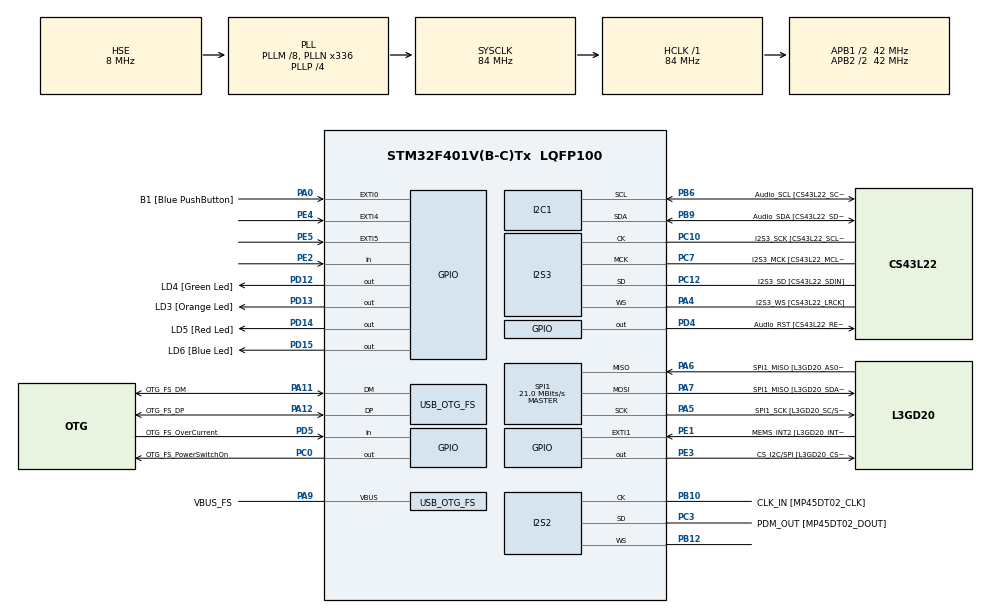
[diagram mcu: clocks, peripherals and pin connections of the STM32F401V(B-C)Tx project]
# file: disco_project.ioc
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I2S2.ErrorAudioFreq=0.0 %
I2S2.FullDuplexMode=I2S_FULLDUPLEXMODE_DISABLE
I2S2.Instance=SPI$Index
I2S2.RealAudioFreq=8.0 KHz
I2S2.VirtualMode=I2S_MODE_MASTER
I2S3.AudioFreq=I2S_AUDIOFREQ_96K
I2S3.ErrorAudioFreq=-2.34 %
I2S3.FullDuplexMode=I2S_FULLDUPLEXMODE_DISABLE
I2S3.Instance=SPI$Index
I2S3.RealAudioFreq=93.75 KHz
I2S3.VirtualMode=I2S_MODE_MASTER
Mcu.Family=STM32F4
Mcu.Name=STM32F401V(B-C)Tx
Mcu.Package=LQFP100
NVIC.OTG_FS_IRQn=true\:0\:0\:false\:false\:true\:true
NVIC.PriorityGroup=NVIC_PRIORITYGROUP_0
PA0-WKUP.GPIO_Label=B1 [Blue PushButton]
PA0-WKUP.GPIO_ModeDefaultEXTI=GPIO_MODE_EVT_RISING
PA0-WKUP.Signal=GPXTI0
PA10.GPIO_Label=OTG_FS_ID
PA10.Signal=USB_OTG_FS_ID
PA11.GPIO_Label=OTG_FS_DM
PA11.Mode=Device_Only
PA11.Signal=USB_OTG_FS_DM
PA12.GPIO_Label=OTG_FS_DP
PA12.Mode=Device_Only
PA12.Signal=USB_OTG_FS_DP
PA13.GPIO_Label=SWDIO
PA13.Mode=Serial_Wire
PA13.Signal=SYS_JTMS-SWDIO
PA14.GPIO_Label=SWCLK
PA14.Mode=Serial_Wire
PA14.Signal=SYS_JTCK-SWCLK
PA4.GPIO_Label=I2S3_WS [CS43L22_LRCK]
PA4.GPIO_Mode=GPIO_MODE_AF_PP
PA4.GPIO_PuPd=GPIO_NOPULL
PA4.GPIO_Speed=GPIO_SPEED_FREQ_LOW
PA4.Mode=Half_Duplex_Master
PA4.Signal=I2S3_WS
PA5.GPIO_Label=SPI1_SCK [L3GD20_SC/SPC]
PA5.Mode=Full_Duplex_Master
PA5.Signal=SPI1_SCK
PA6.GPIO_Label=SPI1_MISO [L3GD20_AS0/SDO]
PA6.Mode=Full_Duplex_Master
PA6.Signal=SPI1_MISO
PA7.GPIO_Label=SPI1_MISO [L3GD20_SDA/SDI/SDO]
PA7.Mode=Full_Duplex_Master
PA7.Signal=SPI1_MOSI
PA9.GPIO_Label=VBUS_FS
PA9.Mode=Activate_VBUS
PA9.Signal=USB_OTG_FS_VBUS
PB10.GPIO_Label=CLK_IN [MP45DT02_CLK]
PB10.Mode=Half_Duplex_Master
PB10.Signal=I2S2_CK
PB12.Mode=Half_Duplex_Master
PB12.Signal=I2S2_WS
PB3.GPIO_Label=SWO
PB3.Signal=SYS_JTDO-SWO
PB6.GPIO_Label=Audio_SCL [CS43L22_SCL]
PB6.GPIO_Mode=GPIO_MODE_AF_OD
PB6.GPIO_PuPd=GPIO_NOPULL
PB6.GPIO_Speed=GPIO_SPEED_FREQ_LOW
PB6.Mode=I2C
PB6.Signal=I2C1_SCL
PB9.GPIO_Label=Audio_SDA [CS43L22_SDA]
PB9.GPIO_Mode=GPIO_MODE_AF_OD
PB9.GPIO_PuPd=GPIO_NOPULL
PB9.GPIO_Speed=GPIO_SPEED_FREQ_LOW
PB9.Mode=I2C
PB9.Signal=I2C1_SDA
PC0.GPIO_Label=OTG_FS_PowerSwitchOn
PC0.PinState=GPIO_PIN_SET
PC0.Signal=GPIO_Output
PC10.GPIO_Label=I2S3_SCK [CS43L22_SCLK]
PC10.GPIO_Mode=GPIO_MODE_AF_PP
PC10.GPIO_PuPd=GPIO_NOPULL
PC10.GPIO_Speed=GPIO_SPEED_FREQ_LOW
PC10.Mode=Half_Duplex_Master
PC10.Signal=I2S3_CK
PC12.GPIO_Label=I2S3_SD [CS43L22_SDIN]
PC12.GPIO_Mode=GPIO_MODE_AF_PP
PC12.GPIO_PuPd=GPIO_NOPULL
PC12.GPIO_Speed=GPIO_SPEED_FREQ_LOW
PC12.Mode=Half_Duplex_Master
PC12.Signal=I2S3_SD
PC14-OSC32_IN.GPIO_Label=PC14-OSC32_IN
PC14-OSC32_IN.Mode=LSE-External-Oscillator
PC14-OSC32_IN.Signal=RCC_OSC32_IN
PC15-OSC32_OUT.GPIO_Label=PC15-OSC32_OUT
PC15-OSC32_OUT.Mode=LSE-External-Oscillator
PC15-OSC32_OUT.Signal=RCC_OSC32_OUT
PC3.GPIO_Label=PDM_OUT [MP45DT02_DOUT]
PC3.Mode=Half_Duplex_Master
PC3.Signal=I2S2_SD
PC6.Signal=S_TIM3_CH1
PC7.GPIO_Label=I2S3_MCK [CS43L22_MCLK]
PC7.GPIO_Mode=GPIO_MODE_AF_PP
PC7.GPIO_PuPd=GPIO_NOPULL
PC7.GPIO_Speed=GPIO_SPEED_FREQ_LOW
PC7.Mode=Master_Clock_Activated
PC7.Signal=I2S3_MCK
PD12.GPIO_Label=LD4 [Green Led]
PD12.GPIO_PuPd=GPIO_NOPULL
PD12.GPIO_Speed=GPIO_SPEED_FREQ_LOW
PD12.Signal=GPIO_Output
PD13.GPIO_Label=LD3 [Orange Led]
PD13.GPIO_PuPd=GPIO_NOPULL
PD13.GPIO_Speed=GPIO_SPEED_FREQ_LOW
PD13.Signal=GPIO_Output
PD14.GPIO_Label=LD5 [Red Led]
PD14.GPIO_PuPd=GPIO_NOPULL
PD14.GPIO_Speed=GPIO_SPEED_FREQ_LOW
PD14.Signal=GPIO_Output
PD15.GPIO_Label=LD6 [Blue Led]
PD15.GPIO_PuPd=GPIO_NOPULL
PD15.GPIO_Speed=GPIO_SPEED_FREQ_LOW
PD15.Signal=GPIO_Output
PD4.GPIO_Label=Audio_RST [CS43L22_RESET]
PD4.Signal=GPIO_Output
PD5.GPIO_Label=OTG_FS_OverCurrent
PD5.Signal=GPIO_Input
PE1.GPIO_Label=MEMS_INT2 [L3GD20_INT2]
PE1.GPIO_ModeDefaultEXTI=GPIO_MODE_EVT_RISING
PE1.Signal=GPXTI1
PE2.Signal=GPIO_Input
PE3.GPIO_Label=CS_I2C/SPI [L3GD20_CS_I2C/SPI]
PE3.Signal=GPIO_Output
PE4.GPIO_ModeDefaultEXTI=GPIO_MODE_EVT_RISING
PE4.Signal=GPXTI4
PE5.GPIO_ModeDefaultEXTI=GPIO_MODE_EVT_RISING
PE5.Signal=GPXTI5
PH0\ -\ OSC_IN.GPIO_Label=PH0-OSC_IN
PH0\ -\ OSC_IN.Mode=HSE-External-Oscillator
PH0\ -\ OSC_IN.Signal=RCC_OSC_IN
PH1\ -\ OSC_OUT.GPIO_Label=PH1-OSC_OUT
PH1\ -\ OSC_OUT.Mode=HSE-External-Oscillator
PH1\ -\ OSC_OUT.Signal=RCC_OSC_OUT
ProjectManager.HeapSize=0x200
ProjectManager.StackSize=0x400
ProjectManager.TargetToolchain=SW4STM32
RCC.AHBFreq_Value=84000000
RCC.APB1CLKDivider=RCC_HCLK_DIV2
RCC.APB1Freq_Value=42000000
RCC.APB1TimFreq_Value=84000000
RCC.APB2CLKDivider=RCC_HCLK_DIV2
RCC.APB2Freq_Value=42000000
RCC.APB2TimFreq_Value=84000000
RCC.CortexFreq_Value=84000000
RCC.HCLKFreq_Value=84000000
RCC.HSE_VALUE=8000000
RCC.HSI_VALUE=16000000
RCC.PLLM=8
RCC.PLLN=336
RCC.PLLP=RCC_PLLP_DIV4
RCC.PLLQ=7
RCC.SYSCLKFreq_VALUE=84000000
RCC.SYSCLKSource=RCC_SYSCLKSOURCE_PLLCLK
RCC.VCOOutputFreq_Value=336000000
SH.S_TIM3_CH1.0=TIM3_CH1
SPI1.BaudRatePrescaler=SPI_BAUDRATEPRESCALER_2
SPI1.CLKPolarity=SPI_POLARITY_LOW
SPI1.CalculateBaudRate=21.0 MBits/s
SPI1.DataSize=SPI_DATASIZE_8BIT
SPI1.Direction=SPI_DIRECTION_2LINES
SPI1.FirstBit=SPI_FIRSTBIT_MSB
SPI1.Mode=SPI_MODE_MASTER
SPI1.VirtualType=VM_MASTER
USB_DEVICE.CLASS_NAME_FS=CDC
USB_DEVICE.VirtualMode=Cdc
USB_DEVICE.VirtualModeFS=Cdc_FS
USB_OTG_FS.VirtualMode=Device_Only
VP_USB_DEVICE_VS_USB_DEVICE_CDC_FS.Mode=CDC_FS
board=STM32F401C-DISCO

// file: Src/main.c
/**
  ******************************************************************************
  * File Name          : main.c
  * Description        : Main program body
  ******************************************************************************
  * This notice applies to any and all portions of this file
  * that are not between comment pairs USER CODE BEGIN and
  * USER CODE END. Other portions of this file, whether
  * inserted by the user or by software development tools
  * are owned by their respective copyright owners.
  *
  * Copyright (c) 2018 STMicroelectronics International N.V.
  * All rights reserved.
  *
  * Redistribution and use in source and binary forms, with or without
  * modification, are permitted, provided that the following conditions are met:
  *
  * 1. Redistribution of source code must retain the above copyright notice,
  *    this list of conditions and the following disclaimer.
  * 2. Redistributions in binary form must reproduce the above copyright notice,
  *    this list of conditions and the following disclaimer in the documentation
  *    and/or other materials provided with the distribution.
  * 3. Neither the name of STMicroelectronics nor the names of other
  *    contributors to this software may be used to endorse or promote products
  *    derived from this software without specific written permission.
  * 4. This software, including modifications and/or derivative works of this
  *    software, must execute solely and exclusively on microcontroller or
  *    microprocessor devices manufactured by or for STMicroelectronics.
  * 5. Redistribution and use of this software other than as permitted under
  *    this license is void and will automatically terminate your rights under
  *    this license.
  *
  * THIS SOFTWARE IS PROVIDED BY STMICROELECTRONICS AND CONTRIBUTORS "AS IS"
  * AND ANY EXPRESS, IMPLIED OR STATUTORY WARRANTIES, INCLUDING, BUT NOT
  * LIMITED TO, THE IMPLIED WARRANTIES OF MERCHANTABILITY, FITNESS FOR A
  * PARTICULAR PURPOSE AND NON-INFRINGEMENT OF THIRD PARTY INTELLECTUAL PROPERTY
  * RIGHTS ARE DISCLAIMED TO THE FULLEST EXTENT PERMITTED BY LAW. IN NO EVENT
  * SHALL STMICROELECTRONICS OR CONTRIBUTORS BE LIABLE FOR ANY DIRECT, INDIRECT,
  * INCIDENTAL, SPECIAL, EXEMPLARY, OR CONSEQUENTIAL DAMAGES (INCLUDING, BUT NOT
  * LIMITED TO, PROCUREMENT OF SUBSTITUTE GOODS OR SERVICES; LOSS OF USE, DATA,
  * OR PROFITS; OR BUSINESS INTERRUPTION) HOWEVER CAUSED AND ON ANY THEORY OF
  * LIABILITY, WHETHER IN CONTRACT, STRICT LIABILITY, OR TORT (INCLUDING
  * NEGLIGENCE OR OTHERWISE) ARISING IN ANY WAY OUT OF THE USE OF THIS SOFTWARE,
  * EVEN IF ADVISED OF THE POSSIBILITY OF SUCH DAMAGE.
  *
  ******************************************************************************
  */

#include "main.h"
#include "stm32f4xx_hal.h"
#include "usb_device.h"

/* USER CODE BEGIN Includes */
// Function prototype
void spi_lis4dh_read (SPI_HandleTypeDef*, uint8_t*, uint8_t*, int);

/* USER CODE END Includes */

I2C_HandleTypeDef hi2c1;

I2S_HandleTypeDef hi2s2;
I2S_HandleTypeDef hi2s3;

SPI_HandleTypeDef hspi1;

/* USER CODE BEGIN PV */
/* Private variables ---------------------------------------------------------*/

/* USER CODE END PV */

void SystemClock_Config(void);
static void MX_GPIO_Init(void);
static void MX_I2S2_Init(void);
static void MX_I2S3_Init(void);
static void MX_SPI1_Init(void);
static void MX_I2C1_Init(void);

/* USER CODE BEGIN PFP */
/* Private function prototypes -----------------------------------------------*/
//int8_t* spt_lis4dh_read (SPI_HandleTypeDef *,  int8_t *, int8_t *)
/* USER CODE END PFP */

/* USER CODE BEGIN 0 */
typedef enum {menu,wait_hal,change_LED} state_mach_t;
typedef enum {line1_print,line2_print} state_line_t;

//PCD_HandleTypeDef hpcd_USB_OTG_FS;
//USBD_HandleTypeDef  hUsbDeviceFS_main;
 //(USBD_HandleTypeDef*) hpcd_USB_OTG_FS->pData;

//USBD_CDC_HandleTypeDef   *hcdc = (USBD_CDC_HandleTypeDef*) pdev->pClassData;

state_mach_t state_var=menu;

uint8_t line1[]="1:Line 1 of the menu \r\n";
uint8_t line2[]="2: Toggle LEDs. Push LED number[1-3]\r\n";
uint8_t line3[]="key 1 has been pressed \r\n";
uint8_t line4[]="key 2 has been pressed \r\n";
uint8_t data[]="aaaaaaaaaaaaaaa \r\n";
uint8_t CTRL1 =0x20;
int size=2;

int16_t  datax=0;
/* USER CODE END 0 */

int main(void)
{

  /* USER CODE BEGIN 1 */
uint8_t usb_state=USBD_OK;
state_line_t menu_line=line1_print;
uint8_t data_spi[2]={0x04,0x03};
uint8_t address_spi[3]={0x8F,0x8F,0xa};

char str[1000];
  /* USER CODE END 1 */

  /* MCU Configuration----------------------------------------------------------*/

  /* Reset of all peripherals, Initializes the Flash interface and the Systick. */
  HAL_Init();

  /* Configure the system clock */
  SystemClock_Config();

  /* Initialize all configured peripherals */
  MX_GPIO_Init();
  MX_I2S2_Init();
  MX_I2S3_Init();
  MX_SPI1_Init();
  MX_USB_DEVICE_Init();
  MX_I2C1_Init();

  /* USER CODE BEGIN 2 */
  //HAL_TIM_Base_Start(&htim3);
  HAL_Delay(100);
//  HAL_GPIO_WritePin(CS_I2C_SPI_GPIO_Port, CS_I2C_SPI_Pin,GPIO_PIN_SET);

  /* USER CODE END 2 */

  /* Infinite loop */
  while (1)
  {

  /* USER CODE BEGIN 3 */

	  //uint8_t HiMsg[]="hello\r\n";
	  //CDC_Transmit_FS(HiMsg, strlen(HiMsg));
		if (state_var==menu){
			switch(menu_line){
				case line1_print:
					usb_state=CDC_Transmit_FS(line1, (uint8_t *) strlen(line1));
					if (usb_state==USBD_OK) {
					menu_line=line2_print;
					break;
					} else {
						menu_line=line1_print;
						break;
					}
				case line2_print:
						usb_state=CDC_Transmit_FS(line2,strlen(line2));
						if (usb_state==USBD_OK){
							HAL_GPIO_TogglePin(GPIOD, LD6_Pin);
							HAL_Delay(100);
							state_var=wait_hal;
							menu_line=line1_print;
							break;
						}
						HAL_Delay(100);
						break;
			}

			//CDC_Transmit_FS(line2, strlen(line2)); This line is not printed, maybe the peripheral is busy

			//https://electronics.stackexchange.com/questions/164075/stm32-usb-cdc-how-to-stop-device-transmitting-via-usb-when-not-connected

	} else if(state_var == wait_hal){

			switch(data[0]) {
			case '1':
				HAL_GPIO_TogglePin(GPIOD, LD4_Pin);
				//state_var=change_LED;
				data[0]=0;
				break;
			case '2':
				HAL_GPIO_TogglePin(GPIOD, LD3_Pin);
				//state_var=change_LED;
				data[0]=0;
				break;
			case '3':
					HAL_GPIO_TogglePin(GPIOD, LD5_Pin);
					data[0]=0;
					break;
			case '4':
					state_var = menu;
					data[0]=0;
					//HAL_GPIO_TogglePin(GPIOC,PC6_Pin);
					 //HAL_TIM_PWM_Start(&htim3,TIM_CHANNEL_1);
					break;
			case '5':
				state_var = wait_hal;
				for(int i=0; i<256; i++){
				 //setPWM(htim2, TIM_CHANNEL_1, 255, i);
				 HAL_Delay(10);

				}
				break;
			case '6':

				//address_spi=0x0F;
				//data_spi = 0x0;
				address_spi[0]=0x8F;
				address_spi[1]=0x8F;
				size=2;
				spi_lis4dh_read (&hspi1, address_spi, data_spi,size);
				sprintf(str,"The value is data0: %d and data1: %d\r\n",data_spi[0],data_spi[1]);
				usb_state=CDC_Transmit_FS(str, (uint8_t *) strlen(str));
				if (usb_state==USBD_OK) {
				state_var = wait_hal;
				data[0]=0;
				break;
				} else {
					state_var = menu; // I am not sure about this
					data[0]=0;
					break;
				}

			case '7':

				//The read and write protocol is being used
				// Adress _spi is the array with the address and the the data. The data is written by the uC in the data_spi array
				address_spi[0]=0x20;
				address_spi[1]=0x0F; //PD=1 and enable the axis,
				data_spi[0]=0x0;
				data_spi[1]=0x0;
				size=2;
				sprintf(str,"Changing CTRL1 register \r\n");
				 usb_state=CDC_Transmit_FS(str, (uint8_t *) strlen(str));
				while (usb_state!=USBD_OK);
				spi_lis4dh_read (&hspi1, address_spi, data_spi,size);
				sprintf(str,"The value is data0: %d and data1: %d\r\n",data_spi[1],data_spi[2]);
				usb_state=CDC_Transmit_FS(str, (uint8_t *) strlen(str));
				if (usb_state==USBD_OK) {
				state_var = wait_hal;
				data[0]=0;
				break;
				} else {
					state_var = menu; // I am not sure about this
					data[0]=0;
					break;
				}

			case '8':

				//The read and write protocol is being used
				// Adress _spi is the array with the address and the the data. The data is written by the uC in the data_spi array
				address_spi[0]=(0x28 | 0xC0); //OUT_X_L (28h)
				address_spi[1]=(0x29 | 0x80); //PD=1, //OUT_X_H (29h)
				data_spi[0]=0x1;
				data_spi[1]=0x1;
				data_spi[2]=0x1;
				size=3;
				sprintf(str,"Reading data\r\n");
				usb_state=CDC_Transmit_FS(str, (uint8_t *) strlen(str));
				while (usb_state!=USBD_OK);
				//usb_state=CDC_Transmit_FS(str, (uint8_t *) strlen(str));
				while (data[0]!='9'){
					datax=0;
					spi_lis4dh_read (&hspi1, address_spi, data_spi,size);
					//pointer arithmrtic
					datax= (((int16_t)data_spi[2])<<8)+(int16_t)data_spi[1];
					if (datax <=-5000) {
						HAL_GPIO_WritePin(GPIOD, LD5_Pin,GPIO_PIN_SET);
						HAL_GPIO_WritePin(GPIOD, LD4_Pin,GPIO_PIN_RESET);
					} else if (datax >=5000) {
						HAL_GPIO_WritePin(GPIOD, LD4_Pin,GPIO_PIN_SET);
						HAL_GPIO_WritePin(GPIOD, LD5_Pin,GPIO_PIN_RESET);
					} else {
						HAL_GPIO_WritePin(GPIOD, LD4_Pin,GPIO_PIN_RESET);
						HAL_GPIO_WritePin(GPIOD, LD5_Pin,GPIO_PIN_RESET);
						}
					}
					//sprintf(str,"The value is data0: %d data1: %d data2: %d \r\n",data_spi[0],data_spi[1],data_spi[2]);
					//sprintf(str,"The value is data: %i \r\n",datax);
					//usb_state=CDC_Transmit_FS(str, (uint8_t *) strlen(str));
					//while (usb_state!=USBD_OK);
				//}
				//if (usb_state==USBD_OK) {
				state_var = wait_hal;
				data[0]=0;
				break;
				/*} else {
					state_var = menu; // I am not sure about this
					data[0]=0;
					break;
				} */
			default:
				state_var = wait_hal;
				break;
			}
	}
			else {
				HAL_Delay(200);
			}

		}

  /* USER CODE END 3 */

}

/** System Clock Configuration
*/
void SystemClock_Config(void)
{

  RCC_OscInitTypeDef RCC_OscInitStruct;
  RCC_ClkInitTypeDef RCC_ClkInitStruct;
  RCC_PeriphCLKInitTypeDef PeriphClkInitStruct;

    /**Configure the main internal regulator output voltage
    */
  __HAL_RCC_PWR_CLK_ENABLE();

  __HAL_PWR_VOLTAGESCALING_CONFIG(PWR_REGULATOR_VOLTAGE_SCALE2);

    /**Initializes the CPU, AHB and APB busses clocks
    */
  RCC_OscInitStruct.OscillatorType = RCC_OSCILLATORTYPE_HSE;
  RCC_OscInitStruct.HSEState = RCC_HSE_ON;
  RCC_OscInitStruct.PLL.PLLState = RCC_PLL_ON;
  RCC_OscInitStruct.PLL.PLLSource = RCC_PLLSOURCE_HSE;
  RCC_OscInitStruct.PLL.PLLM = 8;
  RCC_OscInitStruct.PLL.PLLN = 336;
  RCC_OscInitStruct.PLL.PLLP = RCC_PLLP_DIV4;
  RCC_OscInitStruct.PLL.PLLQ = 7;
  if (HAL_RCC_OscConfig(&RCC_OscInitStruct) != HAL_OK)
  {
    _Error_Handler(__FILE__, __LINE__);
  }

    /**Initializes the CPU, AHB and APB busses clocks
    */
  RCC_ClkInitStruct.ClockType = RCC_CLOCKTYPE_HCLK|RCC_CLOCKTYPE_SYSCLK
                              |RCC_CLOCKTYPE_PCLK1|RCC_CLOCKTYPE_PCLK2;
  RCC_ClkInitStruct.SYSCLKSource = RCC_SYSCLKSOURCE_PLLCLK;
  RCC_ClkInitStruct.AHBCLKDivider = RCC_SYSCLK_DIV1;
  RCC_ClkInitStruct.APB1CLKDivider = RCC_HCLK_DIV2;
  RCC_ClkInitStruct.APB2CLKDivider = RCC_HCLK_DIV2;

  if (HAL_RCC_ClockConfig(&RCC_ClkInitStruct, FLASH_LATENCY_2) != HAL_OK)
  {
    _Error_Handler(__FILE__, __LINE__);
  }

  PeriphClkInitStruct.PeriphClockSelection = RCC_PERIPHCLK_I2S;
  PeriphClkInitStruct.PLLI2S.PLLI2SN = 192;
  PeriphClkInitStruct.PLLI2S.PLLI2SR = 2;
  if (HAL_RCCEx_PeriphCLKConfig(&PeriphClkInitStruct) != HAL_OK)
  {
    _Error_Handler(__FILE__, __LINE__);
  }

    /**Configure the Systick interrupt time
    */
  HAL_SYSTICK_Config(HAL_RCC_GetHCLKFreq()/1000);

    /**Configure the Systick
    */
  HAL_SYSTICK_CLKSourceConfig(SYSTICK_CLKSOURCE_HCLK);

  /* SysTick_IRQn interrupt configuration */
  HAL_NVIC_SetPriority(SysTick_IRQn, 0, 0);
}

/* I2C1 init function */
static void MX_I2C1_Init(void)
{

  hi2c1.Instance = I2C1;
  hi2c1.Init.ClockSpeed = 100000;
  hi2c1.Init.DutyCycle = I2C_DUTYCYCLE_2;
  hi2c1.Init.OwnAddress1 = 0;
  hi2c1.Init.AddressingMode = I2C_ADDRESSINGMODE_7BIT;
  hi2c1.Init.DualAddressMode = I2C_DUALADDRESS_DISABLE;
  hi2c1.Init.OwnAddress2 = 0;
  hi2c1.Init.GeneralCallMode = I2C_GENERALCALL_DISABLE;
  hi2c1.Init.NoStretchMode = I2C_NOSTRETCH_DISABLE;
  if (HAL_I2C_Init(&hi2c1) != HAL_OK)
  {
    _Error_Handler(__FILE__, __LINE__);
  }

}

/* I2S2 init function */
static void MX_I2S2_Init(void)
{

  hi2s2.Instance = SPI2;
  hi2s2.Init.Mode = I2S_MODE_MASTER_TX;
  hi2s2.Init.Standard = I2S_STANDARD_PHILIPS;
  hi2s2.Init.DataFormat = I2S_DATAFORMAT_16B;
  hi2s2.Init.MCLKOutput = I2S_MCLKOUTPUT_DISABLE;
  hi2s2.Init.AudioFreq = I2S_AUDIOFREQ_8K;
  hi2s2.Init.CPOL = I2S_CPOL_LOW;
  hi2s2.Init.ClockSource = I2S_CLOCK_PLL;
  hi2s2.Init.FullDuplexMode = I2S_FULLDUPLEXMODE_DISABLE;
  if (HAL_I2S_Init(&hi2s2) != HAL_OK)
  {
    _Error_Handler(__FILE__, __LINE__);
  }

}

/* I2S3 init function */
static void MX_I2S3_Init(void)
{

  hi2s3.Instance = SPI3;
  hi2s3.Init.Mode = I2S_MODE_MASTER_TX;
  hi2s3.Init.Standard = I2S_STANDARD_PHILIPS;
  hi2s3.Init.DataFormat = I2S_DATAFORMAT_16B;
  hi2s3.Init.MCLKOutput = I2S_MCLKOUTPUT_ENABLE;
  hi2s3.Init.AudioFreq = I2S_AUDIOFREQ_96K;
  hi2s3.Init.CPOL = I2S_CPOL_LOW;
  hi2s3.Init.ClockSource = I2S_CLOCK_PLL;
  hi2s3.Init.FullDuplexMode = I2S_FULLDUPLEXMODE_DISABLE;
  if (HAL_I2S_Init(&hi2s3) != HAL_OK)
  {
    _Error_Handler(__FILE__, __LINE__);
  }

}

/* SPI1 init function */
static void MX_SPI1_Init(void)
{

  /* SPI1 parameter configuration*/
  hspi1.Instance = SPI1;
  hspi1.Init.Mode = SPI_MODE_MASTER;
  hspi1.Init.Direction = SPI_DIRECTION_2LINES;
  hspi1.Init.DataSize = SPI_DATASIZE_8BIT;
  hspi1.Init.CLKPolarity = SPI_POLARITY_LOW;
  hspi1.Init.CLKPhase = SPI_PHASE_1EDGE;
  hspi1.Init.NSS = SPI_NSS_SOFT;
  hspi1.Init.BaudRatePrescaler = SPI_BAUDRATEPRESCALER_2;
  hspi1.Init.FirstBit = SPI_FIRSTBIT_MSB;
  hspi1.Init.TIMode = SPI_TIMODE_DISABLE;
  hspi1.Init.CRCCalculation = SPI_CRCCALCULATION_DISABLE;
  hspi1.Init.CRCPolynomial = 10;
  if (HAL_SPI_Init(&hspi1) != HAL_OK)
  {
    _Error_Handler(__FILE__, __LINE__);
  }

}

/** Configure pins as
        * Analog
        * Input
        * Output
        * EVENT_OUT
        * EXTI
     PC6   ------> S_TIM3_CH1
*/
static void MX_GPIO_Init(void)
{

  GPIO_InitTypeDef GPIO_InitStruct;

  /* GPIO Ports Clock Enable */
  __HAL_RCC_GPIOE_CLK_ENABLE();
  __HAL_RCC_GPIOC_CLK_ENABLE();
  __HAL_RCC_GPIOH_CLK_ENABLE();
  __HAL_RCC_GPIOA_CLK_ENABLE();
  __HAL_RCC_GPIOB_CLK_ENABLE();
  __HAL_RCC_GPIOD_CLK_ENABLE();

  /*Configure GPIO pin Output Level */
  HAL_GPIO_WritePin(CS_I2C_SPI_GPIO_Port, CS_I2C_SPI_Pin, GPIO_PIN_RESET);

  /*Configure GPIO pin Output Level */
  HAL_GPIO_WritePin(OTG_FS_PowerSwitchOn_GPIO_Port, OTG_FS_PowerSwitchOn_Pin, GPIO_PIN_SET);

  /*Configure GPIO pin Output Level */
  HAL_GPIO_WritePin(GPIOD, LD4_Pin|LD3_Pin|LD5_Pin|LD6_Pin
                          |Audio_RST_Pin, GPIO_PIN_RESET);

  /*Configure GPIO pin : PE2 */
  GPIO_InitStruct.Pin = GPIO_PIN_2;
  GPIO_InitStruct.Mode = GPIO_MODE_INPUT;
  GPIO_InitStruct.Pull = GPIO_NOPULL;
  HAL_GPIO_Init(GPIOE, &GPIO_InitStruct);

  /*Configure GPIO pin : CS_I2C_SPI_Pin */
  GPIO_InitStruct.Pin = CS_I2C_SPI_Pin;
  GPIO_InitStruct.Mode = GPIO_MODE_OUTPUT_PP;
  GPIO_InitStruct.Pull = GPIO_NOPULL;
  GPIO_InitStruct.Speed = GPIO_SPEED_FREQ_LOW;
  HAL_GPIO_Init(CS_I2C_SPI_GPIO_Port, &GPIO_InitStruct);

  /*Configure GPIO pins : PE4 PE5 MEMS_INT2_Pin */
  GPIO_InitStruct.Pin = GPIO_PIN_4|GPIO_PIN_5|MEMS_INT2_Pin;
  GPIO_InitStruct.Mode = GPIO_MODE_EVT_RISING;
  GPIO_InitStruct.Pull = GPIO_NOPULL;
  HAL_GPIO_Init(GPIOE, &GPIO_InitStruct);

  /*Configure GPIO pin : OTG_FS_PowerSwitchOn_Pin */
  GPIO_InitStruct.Pin = OTG_FS_PowerSwitchOn_Pin;
  GPIO_InitStruct.Mode = GPIO_MODE_OUTPUT_PP;
  GPIO_InitStruct.Pull = GPIO_NOPULL;
  GPIO_InitStruct.Speed = GPIO_SPEED_FREQ_LOW;
  HAL_GPIO_Init(OTG_FS_PowerSwitchOn_GPIO_Port, &GPIO_InitStruct);

  /*Configure GPIO pin : B1_Pin */
  GPIO_InitStruct.Pin = B1_Pin;
  GPIO_InitStruct.Mode = GPIO_MODE_EVT_RISING;
  GPIO_InitStruct.Pull = GPIO_NOPULL;
  HAL_GPIO_Init(B1_GPIO_Port, &GPIO_InitStruct);

  /*Configure GPIO pins : LD4_Pin LD3_Pin LD5_Pin LD6_Pin
                           Audio_RST_Pin */
  GPIO_InitStruct.Pin = LD4_Pin|LD3_Pin|LD5_Pin|LD6_Pin
                          |Audio_RST_Pin;
  GPIO_InitStruct.Mode = GPIO_MODE_OUTPUT_PP;
  GPIO_InitStruct.Pull = GPIO_NOPULL;
  GPIO_InitStruct.Speed = GPIO_SPEED_FREQ_LOW;
  HAL_GPIO_Init(GPIOD, &GPIO_InitStruct);

  /*Configure GPIO pin : PC6 */
  GPIO_InitStruct.Pin = GPIO_PIN_6;
  GPIO_InitStruct.Mode = GPIO_MODE_AF_PP;
  GPIO_InitStruct.Pull = GPIO_NOPULL;
  GPIO_InitStruct.Speed = GPIO_SPEED_FREQ_LOW;
  GPIO_InitStruct.Alternate = GPIO_AF2_TIM3;
  HAL_GPIO_Init(GPIOC, &GPIO_InitStruct);

  /*Configure GPIO pin : OTG_FS_OverCurrent_Pin */
  GPIO_InitStruct.Pin = OTG_FS_OverCurrent_Pin;
  GPIO_InitStruct.Mode = GPIO_MODE_INPUT;
  GPIO_InitStruct.Pull = GPIO_NOPULL;
  HAL_GPIO_Init(OTG_FS_OverCurrent_GPIO_Port, &GPIO_InitStruct);

}

/* USER CODE BEGIN 4 */

/*void setPWM(TIM_HandleTypeDef timer, uint32_t channel, uint16_t period, uint16_t pulse)
{
 HAL_TIM_PWM_Stop(&timer, channel); // stop generation of pwm
 TIM_OC_InitTypeDef sConfigOC;
 timer.Init.Period = period; // set the period duration
 HAL_TIM_PWM_Init(&timer); // reinititialise with new period value
 sConfigOC.OCMode = TIM_OCMODE_PWM1;
 sConfigOC.Pulse = pulse; // set the pulse duration
 sConfigOC.OCPolarity = TIM_OCPOLARITY_HIGH;
 sConfigOC.OCFastMode = TIM_OCFAST_DISABLE;
 HAL_TIM_PWM_ConfigChannel(&timer, &sConfigOC, channel);
 HAL_TIM_PWM_Start(&timer, channel); // start pwm generation
} */

void spi_lis4dh_read (SPI_HandleTypeDef* hspi1, uint8_t* address_spi, uint8_t* data_spi, int size) {
	//uint16_t size=2;
	uint32_t timeout=100;
	HAL_GPIO_WritePin(CS_I2C_SPI_GPIO_Port,CS_I2C_SPI_Pin,GPIO_PIN_RESET);
	HAL_Delay(5);
	HAL_SPI_TransmitReceive(hspi1,address_spi,data_spi,(uint16_t) size,timeout);
	while (hspi1->State != HAL_SPI_STATE_READY);
	HAL_GPIO_WritePin(CS_I2C_SPI_GPIO_Port,CS_I2C_SPI_Pin,GPIO_PIN_SET);

}
/* USER CODE END 4 */

void _Error_Handler(char * file, int line)
{
  while(1)
  {
  }
}

/************************ (C) COPYRIGHT STMicroelectronics *****END OF FILE****/
